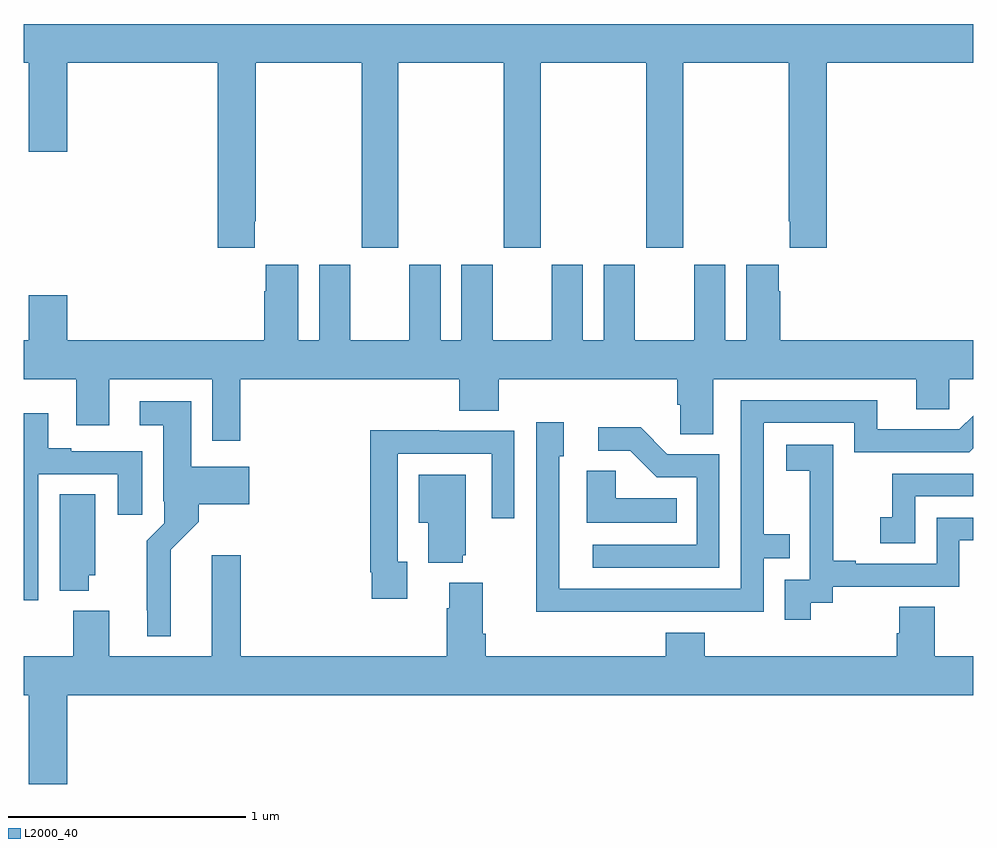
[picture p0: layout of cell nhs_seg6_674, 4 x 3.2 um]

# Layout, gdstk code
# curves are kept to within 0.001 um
import gdstk
lib = gdstk.Library(unit=1e-6, precision=1e-09)
def P(c, l, *ps):  # polygons
    for p in ps: c.add(gdstk.Polygon(p, *l))
L2000_40 = (2000, 40)

nhs_seg6_674 = lib.new_cell('nhs_seg6_674')
P(nhs_seg6_674, L2000_40, [(153.973,963.985),(153.978,963.985),(153.978,964.652),(154.423,964.652),(154.423,963.873),(154.578,963.873),(154.578,964.652),(155.023,964.652),(155.023,963.873),(155.178,963.873),(155.178,964.652),(155.623,964.652),(155.623,963.873),(155.778,963.873),(155.778,964.652),(156.223,964.652),(156.223,963.985),(156.227,963.985),(156.227,963.873),(156.383,963.873),(156.383,964.652),(157,964.652),(157,964.816),(153,964.816),(153,964.652),(153.02,964.652),(153.02,964.278),(153.184,964.278),(153.184,964.652),(153.818,964.652),(153.818,963.873),(153.973,963.873)],
  [(153.911,963.32),(154.835,963.32),(154.835,963.187),(155,963.187),(155,963.32),(155.753,963.32),(155.753,963.211),(155.766,963.211),(155.766,963.088),(155.905,963.088),(155.905,963.32),(156.761,963.32),(156.761,963.193),(156.9,963.193),(156.9,963.32),(157,963.32),(157,963.484),(156.188,963.484),(156.188,963.689),(156.181,963.689),(156.181,963.802),(156.044,963.802),(156.044,963.484),(155.956,963.484),(155.956,963.802),(155.825,963.802),(155.825,963.484),(155.575,963.484),(155.575,963.802),(155.444,963.802),(155.444,963.484),(155.356,963.484),(155.356,963.802),(155.225,963.802),(155.225,963.484),(154.975,963.484),(154.975,963.802),(154.844,963.802),(154.844,963.484),(154.756,963.484),(154.756,963.802),(154.625,963.802),(154.625,963.484),(154.375,963.484),(154.375,963.802),(154.244,963.802),(154.244,963.484),(154.156,963.484),(154.156,963.802),(154.019,963.802),(154.019,963.689),(154.013,963.689),(154.013,963.484),(153.184,963.484),(153.184,963.673),(153.02,963.673),(153.02,963.484),(153,963.484),(153,963.32),(153.221,963.32),(153.221,963.126),(153.361,963.126),(153.361,963.32),(153.795,963.32),(153.795,963.06),(153.911,963.06)],
  [(155.621,962.34),(156.117,962.34),(156.117,962.565),(156.227,962.565),(156.227,962.666),(156.117,962.666),(156.117,963.135),(156.498,963.135),(156.498,963.012),(156.984,963.012),(157,963.028),(157,963.166),(156.942,963.108),(156.595,963.108),(156.595,963.231),(156.021,963.231),(156.021,962.436),(155.256,962.436),(155.256,962.994),(155.275,962.994),(155.275,963.139),(155.16,963.139),(155.16,962.645),(155.158,962.645),(155.158,962.339)],
  [(153.619,962.6),(153.737,962.718),(153.737,962.792),(153.949,962.792),(153.949,962.95),(153.706,962.95),(153.706,963.226),(153.489,963.226),(153.489,963.125),(153.587,963.125),(153.587,962.806),(153.591,962.806),(153.591,962.712),(153.517,962.638),(153.517,962.347),(153.521,962.347),(153.521,962.237),(153.619,962.237)],
  [(153.061,962.919),(153.395,962.919),(153.395,962.748),(153.499,962.748),(153.499,963.015),(153.199,963.015),(153.199,963.028),(153.103,963.028),(153.103,963.175),(153,963.175),(153,962.388),(153.061,962.388)],
  [(155.931,963.003),(155.712,963.003),(155.599,963.116),(155.421,963.116),(155.421,963.018),(155.555,963.018),(155.666,962.907),(155.835,962.907),(155.835,962.622),(155.397,962.622),(155.397,962.526),(155.931,962.526)],
  [(154.615,962.55),(154.575,962.55),(154.575,963.006),(154.971,963.006),(154.971,962.733),(155.067,962.733),(155.067,963.102),(154.751,963.102),(154.751,963.104),(154.459,963.104),(154.459,962.506),(154.467,962.506),(154.467,962.394),(154.615,962.394)],
  [(156.316,962.377),(156.408,962.377),(156.408,962.445),(156.942,962.445),(156.942,962.64),(157,962.64),(157,962.736),(156.846,962.736),(156.846,962.541),(156.505,962.541),(156.505,962.554),(156.41,962.554),(156.41,962.837),(156.411,962.837),(156.411,963.043),(156.213,963.043),(156.213,962.933),(156.311,962.933),(156.311,962.705),(156.312,962.705),(156.312,962.475),(156.207,962.475),(156.207,962.307),(156.316,962.307)],
  [(155.75,962.818),(155.493,962.818),(155.493,962.933),(155.372,962.933),(155.372,962.714),(155.75,962.714)],
  [(156.756,962.826),(157,962.826),(157,962.922),(156.658,962.922),(156.658,962.737),(156.609,962.737),(156.609,962.628),(156.756,962.628)],
  [(154.85,962.577),(154.861,962.577),(154.861,962.917),(154.664,962.917),(154.664,962.714),(154.703,962.714),(154.703,962.546),(154.85,962.546)],
  [(153.274,962.493),(153.301,962.493),(153.301,962.834),(153.152,962.834),(153.152,962.429),(153.274,962.429)],
  [(153.184,961.988),(157,961.988),(157,962.152),(156.837,962.152),(156.837,962.36),(156.689,962.36),(156.689,962.25),(156.677,962.25),(156.677,962.152),(155.87,962.152),(155.87,962.251),(155.705,962.251),(155.705,962.152),(154.946,962.152),(154.946,962.248),(154.933,962.248),(154.933,962.461),(154.793,962.461),(154.793,962.354),(154.781,962.354),(154.781,962.152),(153.914,962.152),(153.914,962.578),(153.791,962.578),(153.791,962.152),(153.361,962.152),(153.361,962.344),(153.209,962.344),(153.209,962.152),(153,962.152),(153,961.988),(153.02,961.988),(153.02,961.614),(153.184,961.614)])

lib.write_gds('nhs_seg6_674.gds')
